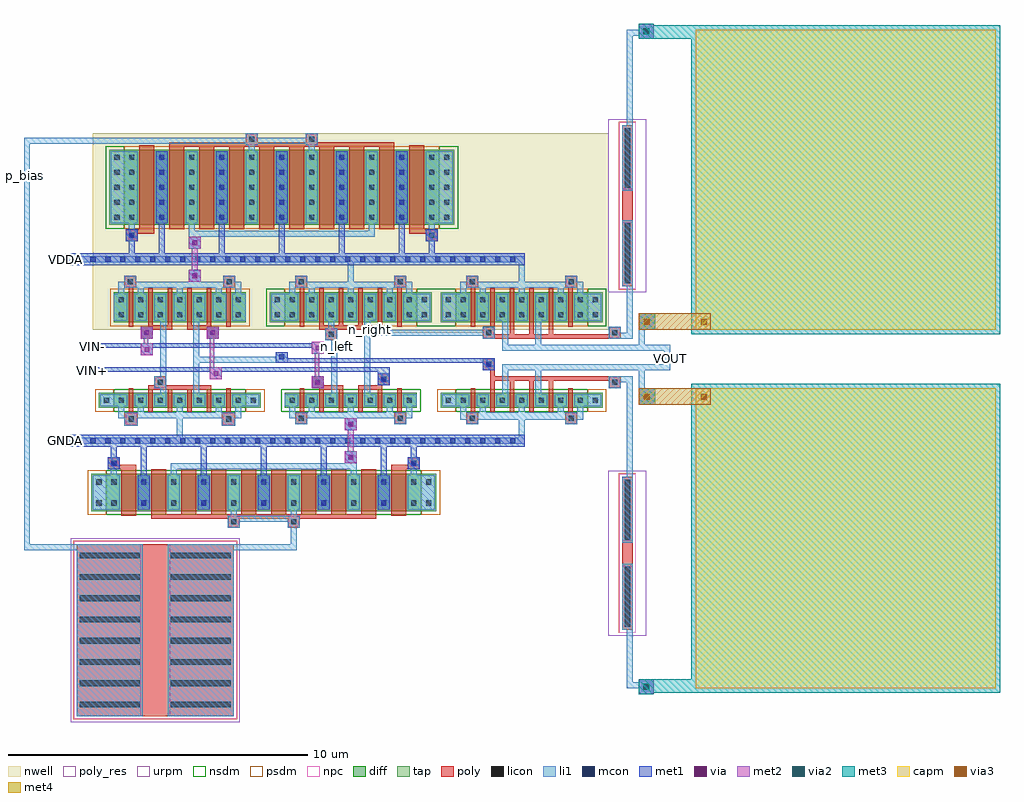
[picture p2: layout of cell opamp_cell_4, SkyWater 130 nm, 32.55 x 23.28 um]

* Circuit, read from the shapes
.subckt opamp_cell_4 GNDA VDDA VIN+ VIN- VOUT n_left n_right p_bias
XM1 GNDA GNDA GNDA GNDA sky130_fd_pr__nfet_01v8 w=1.25 l=0.5 m=2
XM2 GNDA GNDA GNDA GNDA sky130_fd_pr__nfet_01v8 w=0.5 l=0.15 m=4
XM3 n1 n1 GNDA GNDA sky130_fd_pr__nfet_01v8 w=0.5 l=0.15 m=2
XM4 n2 n3 GNDA GNDA sky130_fd_pr__nfet_01v8 w=1.25 l=0.5 m=4
XM5 n4 n1 GNDA GNDA sky130_fd_pr__nfet_01v8 w=0.5 l=0.15 m=2
XM6 n3 n3 GNDA GNDA sky130_fd_pr__nfet_01v8 w=1.25 l=0.5 m=4
XM7 n2 n2 n2 GNDA sky130_fd_pr__nfet_01v8 w=0.5 l=0.15 m=2
XM8 n_left VIN- n2 GNDA sky130_fd_pr__nfet_01v8 w=0.5 l=0.15 m=2
XM9 n_right VIN+ n2 GNDA sky130_fd_pr__nfet_01v8 w=0.5 l=0.15 m=2
XM10 VOUT n4 GNDA GNDA sky130_fd_pr__nfet_01v8 w=0.5 l=0.15 m=4
XM11 n5 n5 n5 VDDA sky130_fd_pr__pfet_01v8 w=1 l=0.15 m=2
XM12 VDDA VDDA VDDA VDDA sky130_fd_pr__pfet_01v8 w=2.5 l=0.5 m=2
XM13 n1 VIN- n5 VDDA sky130_fd_pr__pfet_01v8 w=1 l=0.15 m=2
XM14 n5 p_bias VDDA VDDA sky130_fd_pr__pfet_01v8 w=2.5 l=0.5 m=4
XM15 n4 VIN+ n5 VDDA sky130_fd_pr__pfet_01v8 w=1 l=0.15 m=2
XM16 p_bias p_bias VDDA VDDA sky130_fd_pr__pfet_01v8 w=2.5 l=0.5 m=4
XM17 VDDA VDDA VDDA VDDA sky130_fd_pr__pfet_01v8 w=1 l=0.15 m=4
XM18 n_left n_left VDDA VDDA sky130_fd_pr__pfet_01v8 w=1 l=0.15 m=2
XM19 n_right n_left VDDA VDDA sky130_fd_pr__pfet_01v8 w=1 l=0.15 m=2
XM20 VOUT n_right VDDA VDDA sky130_fd_pr__pfet_01v8 w=1 l=0.15 m=4
XC21 VOUT n6 sky130_fd_pr__cap_mim_m3_1 w=10 l=10
XC22 VOUT n7 sky130_fd_pr__cap_mim_m3_1 w=10 l=10
XR23 n3 p_bias GNDA sky130_fd_pr__res_xhigh_po w=5.73 l=0.88
XR24 n4 n6 GNDA sky130_fd_pr__res_xhigh_po w=0.35 l=0.74
XR25 n7 n_right GNDA sky130_fd_pr__res_xhigh_po w=0.35 l=1.02
.ends

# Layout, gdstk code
import gdstk
lib = gdstk.Library(unit=1e-6, precision=1e-09)
def R(c, l, rs):  # rectangles x0, y0, x1, y1
    for r in rs: c.add(gdstk.rectangle(r[:2], r[2:], *l))
def A(c, l, x, y, w, h, nx, ny, dx, dy):  # array of equal rectangles
    R(c, l, [(x+i*dx, y+j*dy, x+i*dx+w, y+j*dy+h) for i in range(nx) for j in range(ny)])
nwell = (64, 20)
diff = (65, 20)
tap = (65, 44)
poly_res = (66, 13)
poly = (66, 20)
licon = (66, 44)
li1 = (67, 20)
mcon = (67, 44)
met1 = (68, 20)
via = (68, 44)
met2 = (69, 20)
via2 = (69, 44)
met3 = (70, 20)
via3 = (70, 44)
met4 = (71, 20)
urpm = (79, 20)
capm = (89, 44)
nsdm = (93, 44)
psdm = (94, 20)
npc = (95, 20)

opamp_cell_4 = lib.new_cell('opamp_cell_4')
R(opamp_cell_4, nwell, [(42.65,21.75,46.4,21.85), (33.4,21.85,50.6,28.4)])
A(opamp_cell_4, diff, 34.1, 19.25, 4.4, 0.5, 3, 1, 5.7, 0)
A(opamp_cell_4, diff, 34.1, 22.1, 4.4, 1, 3, 1, 5.7, 0)
R(opamp_cell_4, diff, [(33.85,15.8,44.35,17.05), (34.45,25.35,44.95,27.85)])
R(opamp_cell_4, tap, [(33.35,15.8,33.85,17.05), (44.35,15.8,44.85,17.05), (33.6,19.25,34.1,19.75), (38.5,19.25,39,19.75), (45,19.25,45.5,19.75), (49.9,19.25,50.4,19.75), (39.3,22.1,39.8,23.1), (44.2,22.1,44.7,23.1), (45,22.1,45.5,23.1), (49.9,22.1,50.4,23.1), (33.95,25.35,34.45,27.85), (44.95,25.35,45.45,27.85)])
R(opamp_cell_4, poly_res, [(34.98,8.97,35.98,14.7), (51.05,13.97,51.4,14.83), (51.05,25.42,51.4,26.56)])
A(opamp_cell_4, poly, 35.35, 15.7, 0.5, 1.5, 8, 1, 1, 0)
A(opamp_cell_4, poly, 35.25, 19.1, 0.15, 0.75, 4, 1, 0.65, 0)
A(opamp_cell_4, poly, 40.95, 19.1, 0.15, 0.75, 4, 1, 0.65, 0)
A(opamp_cell_4, poly, 46.65, 19.1, 0.15, 1.05, 4, 1, 0.65, 0)
A(opamp_cell_4, poly, 47.3, 21.7, 0.15, 1.55, 3, 1, 0.65, 0)
A(opamp_cell_4, poly, 35.25, 22, 0.15, 1.25, 4, 1, 0.65, 0)
A(opamp_cell_4, poly, 40.95, 22, 0.15, 1.25, 4, 1, 0.65, 0)
A(opamp_cell_4, poly, 35.95, 25.2, 0.5, 2.75, 8, 1, 1, 0)
R(opamp_cell_4, poly, [(32.86,8.97,38.1,14.7), (51.05,11.85,51.4,16.95), (37.9,15.25,38.3,15.55), (39.9,15.25,40.3,15.55), (35.35,15.55,42.85,15.7), (34.35,15.65,34.85,17.2), (43.35,15.65,43.85,17.2), (33.9,17.2,34.85,17.35), (43.35,17.2,44.3,17.35), (33.9,17.35,34.3,17.6), (43.9,17.35,44.3,17.6), (34.45,18.65,34.9,19.1), (37.7,18.65,38.15,19.1), (40.15,18.7,40.55,19.1), (43.45,18.7,43.85,19.1), (45.85,18.7,46.25,19.1), (49.15,18.7,49.55,19.1), (34.6,19.1,34.75,19.9), (37.85,19.1,38,19.9), (40.3,19.1,40.45,19.9), (43.55,19.1,43.7,19.9), (46,19.1,46.15,19.9), (49.25,19.1,49.4,19.9), (35.25,19.85,37.35,20), (40.95,19.85,41.75,19.9), (42.25,19.85,43.05,20), (40.7,19.9,41.75,20), (50.6,19.9,51,20.15), (35.45,20,35.85,20.3), (40.7,20,41.1,20.3), (42.9,20,43.3,20.4), (46.65,20.15,51,20.3), (46.65,20.3,46.8,20.5), (46.4,20.5,46.8,20.9), (41.15,21.5,41.55,21.85), (35,21.55,35.4,21.85), (37.2,21.55,37.6,21.85), (46.4,21.55,51,21.7), (46.4,21.7,46.8,21.95), (50.6,21.7,51,21.95), (42.65,21.75,43.05,21.85), (35,21.85,36.05,21.95), (36.55,21.85,37.6,21.95), (40.95,21.85,43.05,22), (34.6,21.95,34.75,23.25), (35.25,21.95,36.05,22), (36.55,21.95,37.35,22), (37.85,21.95,38,23.25), (40.3,21.95,40.45,23.25), (43.55,21.95,43.7,23.25), (46,21.95,46.15,23.25), (46.65,21.95,46.8,23.25), (49.25,21.95,49.4,23.25), (34.45,23.25,34.85,23.65), (37.75,23.25,38.15,23.65), (40.15,23.25,40.55,23.65), (43.45,23.25,43.85,23.65), (45.85,23.25,46.25,23.65), (49.15,23.25,49.55,23.65), (51.05,23.3,51.4,28.68), (34.5,24.8,34.9,25.05), (44.5,24.8,44.9,25.05), (34.5,25.05,35.45,25.2), (43.95,25.05,44.9,25.2), (34.95,25.2,35.45,28), (43.95,25.2,44.45,28), (35.95,27.95,43.45,28.1), (38.5,28.1,38.9,28.4), (40.5,28.1,40.9,28.4)])
A(opamp_cell_4, licon, 32.96, 9.255, 2, 0.19, 1, 8, 0, 0.71)
A(opamp_cell_4, licon, 36, 9.255, 2, 0.19, 1, 8, 0, 0.71)
A(opamp_cell_4, licon, 34.015, 15.99, 0.17, 0.17, 11, 2, 1, 0.7)
A(opamp_cell_4, licon, 34.265, 19.415, 0.17, 0.17, 7, 2, 0.65, 2.85)
A(opamp_cell_4, licon, 39.965, 19.415, 0.17, 0.17, 7, 2, 0.65, 2.85)
A(opamp_cell_4, licon, 45.665, 19.415, 0.17, 0.17, 7, 2, 0.65, 2.85)
A(opamp_cell_4, licon, 34.265, 22.765, 0.17, 0.17, 7, 1, 0.65, 0)
A(opamp_cell_4, licon, 39.965, 22.765, 0.17, 0.17, 7, 1, 0.65, 0)
A(opamp_cell_4, licon, 45.665, 22.765, 0.17, 0.17, 7, 1, 0.65, 0)
A(opamp_cell_4, licon, 34.115, 25.515, 0.17, 0.17, 1, 5, 0, 0.5)
A(opamp_cell_4, licon, 34.615, 25.515, 0.17, 0.17, 11, 5, 1, 0.5)
A(opamp_cell_4, licon, 45.115, 25.515, 0.17, 0.17, 1, 5, 0, 0.5)
R(opamp_cell_4, licon, [(51.13,11.95,51.32,13.95), (51.13,14.85,51.32,16.85), (38.015,15.365,38.185,15.535), (40.015,15.365,40.185,15.535), (33.515,15.99,33.685,16.16), (44.515,15.99,44.685,16.16), (33.515,16.69,33.685,16.86), (44.515,16.69,44.685,16.86), (34.015,17.315,34.185,17.485), (44.015,17.315,44.185,17.485), (34.59,18.79,34.76,18.96), (37.84,18.79,38.01,18.96), (40.265,18.815,40.435,18.985), (43.565,18.815,43.735,18.985), (45.965,18.815,46.135,18.985), (49.265,18.815,49.435,18.985), (33.765,19.415,33.935,19.585), (38.665,19.415,38.835,19.585), (45.165,19.415,45.335,19.585), (50.065,19.415,50.235,19.585), (35.565,20.015,35.735,20.185), (40.815,20.015,40.985,20.185), (50.715,20.015,50.885,20.185), (43.015,20.115,43.185,20.285), (46.515,20.615,46.685,20.785), (41.265,21.615,41.435,21.785), (35.115,21.665,35.285,21.835), (37.315,21.665,37.485,21.835), (46.515,21.665,46.685,21.835), (50.715,21.665,50.885,21.835), (39.465,22.265,39.635,22.435), (44.365,22.265,44.535,22.435), (45.165,22.265,45.335,22.435), (50.065,22.265,50.235,22.435), (39.465,22.765,39.635,22.935), (44.365,22.765,44.535,22.935), (45.165,22.765,45.335,22.935), (50.065,22.765,50.235,22.935), (34.565,23.365,34.735,23.535), (37.865,23.365,38.035,23.535), (40.265,23.365,40.435,23.535), (43.565,23.365,43.735,23.535), (45.965,23.365,46.135,23.535), (49.265,23.365,49.435,23.535), (51.13,23.4,51.32,25.4), (34.615,24.915,34.785,25.085), (44.615,24.915,44.785,25.085), (51.13,26.58,51.32,28.58), (38.615,28.115,38.785,28.285), (40.615,28.115,40.785,28.285)])
A(opamp_cell_4, li1, 34.9, 15.85, 0.4, 1.15, 9, 1, 1, 0)
A(opamp_cell_4, li1, 34.9, 19.1, 0.2, 0.2, 3, 2, 1.3, 3.95)
A(opamp_cell_4, li1, 40.6, 19.1, 0.2, 0.2, 3, 2, 1.3, 3.95)
A(opamp_cell_4, li1, 46.3, 19.1, 0.2, 0.2, 3, 2, 1.3, 3.95)
A(opamp_cell_4, li1, 34.8, 19.3, 0.4, 0.4, 5, 1, 0.65, 0)
A(opamp_cell_4, li1, 40.5, 19.3, 0.4, 0.4, 5, 1, 0.65, 0)
A(opamp_cell_4, li1, 46.2, 19.3, 0.4, 0.4, 5, 1, 0.65, 0)
A(opamp_cell_4, li1, 34.8, 22.15, 0.4, 0.9, 4, 1, 0.65, 0)
A(opamp_cell_4, li1, 40.5, 22.15, 0.4, 0.9, 5, 1, 0.65, 0)
A(opamp_cell_4, li1, 46.2, 22.15, 0.4, 0.9, 5, 1, 0.65, 0)
A(opamp_cell_4, li1, 34.25, 23.25, 4.1, 0.2, 3, 1, 5.7, 0)
A(opamp_cell_4, li1, 35.5, 25.4, 0.4, 2.4, 9, 1, 1, 0)
R(opamp_cell_4, li1, [(32.86,8.97,35.06,14.5), (35.9,8.97,38.1,14.5), (51.6,9.7,52.1,9.9), (51.2,9.9,52.1,10.1), (51.2,10.1,51.4,11.85), (51.6,10.1,52.1,10.2), (51.05,11.85,51.4,14.05), (31.1,14.5,35.06,14.7), (35.9,14.5,40.2,14.7), (31.1,14.7,31.3,28.05), (40,14.7,40.2,15.25), (51.05,14.75,51.4,16.95), (37.9,15.25,38.3,15.45), (39.9,15.25,40.3,15.45), (37.9,15.45,40.3,15.65), (38,15.65,38.2,15.85), (40,15.65,40.2,15.85), (33.4,15.85,34.3,17), (43.9,15.85,44.8,17), (51.2,16.95,51.4,20.1), (34,17,34.2,17.2), (36,17,36.2,17.2), (42,17,42.2,17.2), (44,17,44.2,17.2), (33.9,17.2,34.3,17.6), (36,17.2,42.2,17.4), (43.9,17.2,44.3,17.6), (41.8,17.4,42.2,17.8), (32.5,18.05,47.8,18.25), (36.2,18.25,36.4,18.9), (47.6,18.25,47.8,18.85), (41.8,18.5,42.2,18.9), (34.45,18.65,34.9,18.9), (37.7,18.65,38.15,18.9), (40.15,18.7,40.55,18.9), (43.45,18.7,43.85,18.9), (45.85,18.7,46.25,18.85), (49.15,18.7,49.55,18.85), (45.65,18.85,49.75,19.1), (34.25,18.9,38.35,19.1), (39.95,18.9,44.05,19.1), (34.25,19.1,34.45,19.3), (38.15,19.1,38.35,19.3), (39.95,19.1,40.15,19.3), (43.85,19.1,44.05,19.3), (45.65,19.1,45.85,19.3), (49.55,19.1,49.75,19.3), (33.65,19.3,34.55,19.7), (38.05,19.3,38.95,19.7), (39.8,19.3,40.25,19.7), (43.75,19.3,44.2,19.7), (45.05,19.3,45.95,19.7), (49.45,19.3,50.35,19.7), (51.6,19.35,52.15,19.9), (35.65,19.7,35.85,19.9), (36.75,19.7,36.95,20.75), (41.35,19.7,41.55,21.5), (42.45,19.7,42.65,21.65), (47.05,19.7,47.25,20.5), (48.15,19.7,48.35,20.5), (35.45,19.9,35.85,20.3), (40.7,19.9,41.1,20.3), (50.6,19.9,51,20.1), (51.6,19.9,51.8,20.5), (42.9,20,43.3,20.4), (50.6,20.1,51.4,20.3), (35.65,20.3,35.85,22.15), (46.4,20.5,46.8,20.9), (47.05,20.5,52.65,20.7), (52.45,20.7,52.65,21.15), (36.75,20.75,39.9,20.95), (36.75,20.95,36.95,22.15), (39.5,20.95,39.9,21.1), (47.05,21.15,52.65,21.35), (47.05,21.35,47.25,22.15), (48.15,21.35,48.35,22.15), (51.6,21.35,51.8,21.85), (41.15,21.5,41.55,21.9), (35,21.55,35.4,21.95), (37.2,21.55,37.6,21.95), (46.4,21.55,46.8,21.65), (50.6,21.55,51.4,21.75), (42.45,21.65,46.8,21.85), (50.6,21.75,51,21.95), (51.2,21.75,51.4,23.3), (42.45,21.85,42.65,22.15), (46.4,21.85,46.8,21.95), (51.6,21.85,52.15,22.4), (41.25,21.9,41.45,22.15), (34.1,22.15,34.55,23.05), (37.4,22.15,37.85,23.05), (38.05,22.15,38.5,23.05), (39.35,22.15,40.25,23.05), (43.75,22.15,44.65,23.05), (45.05,22.15,45.95,23.05), (49.45,22.15,50.35,23.05), (34.25,23.05,34.45,23.25), (38.15,23.05,38.35,23.25), (39.95,23.05,40.15,23.25), (43.85,23.05,44.05,23.25), (45.65,23.05,45.85,23.25), (49.55,23.05,49.75,23.25), (51.05,23.3,51.4,25.5), (34.45,23.45,34.85,23.65), (36.6,23.45,37,23.85), (37.75,23.45,38.15,23.65), (40.15,23.45,40.55,23.65), (41.9,23.45,42.1,24.1), (43.45,23.45,43.85,23.65), (45.85,23.45,46.25,23.65), (47.6,23.45,47.8,24.1), (49.15,23.45,49.55,23.65), (32.5,24.1,47.8,24.3), (36.6,24.55,37,24.95), (34.5,24.8,34.9,25.2), (44.5,24.8,44.9,25.2), (36.6,24.95,42.8,25.15), (36.6,25.15,36.8,25.4), (42.6,25.15,42.8,25.4), (34.6,25.2,34.8,25.4), (44.6,25.2,44.8,25.4), (34,25.4,34.9,27.8), (44.5,25.4,45.4,27.8), (51.05,26.48,51.4,28.68), (38.6,27.8,38.8,28), (40.6,27.8,40.8,28), (38.5,28,38.9,28.05), (40.5,28,40.9,28.05), (31.1,28.05,40.9,28.25), (38.5,28.25,38.9,28.4), (40.5,28.25,40.9,28.4), (51.2,28.68,51.4,31.65), (51.6,31.55,52.1,31.65), (51.2,31.65,52.1,31.85), (51.6,31.85,52.1,32.05)])
A(opamp_cell_4, mcon, 35.015, 15.99, 0.17, 0.17, 5, 2, 2, 0.7)
A(opamp_cell_4, mcon, 32.815, 18.065, 0.17, 0.17, 30, 2, 0.5, 6.05)
A(opamp_cell_4, mcon, 35.615, 25.515, 0.17, 0.17, 5, 5, 2, 0.5)
R(opamp_cell_4, mcon, [(51.765,9.865,51.935,10.035), (34.015,17.315,34.185,17.485), (44.015,17.315,44.185,17.485), (41.915,17.515,42.085,17.685), (41.915,18.615,42.085,18.785), (51.79,19.54,51.96,19.71), (40.815,20.015,40.985,20.185), (43.015,20.115,43.185,20.285), (46.515,20.615,46.685,20.785), (39.615,20.865,39.785,21.035), (35.115,21.665,35.285,21.835), (37.315,21.665,37.485,21.835), (51.79,22.04,51.96,22.21), (36.715,23.565,36.885,23.735), (36.715,24.665,36.885,24.835), (34.615,24.915,34.785,25.085), (51.765,31.715,51.935,31.885)])
A(opamp_cell_4, met1, 34.9, 15.85, 0.4, 1.15, 5, 1, 2, 0)
A(opamp_cell_4, met1, 35, 17, 0.2, 0.95, 5, 1, 2, 0)
A(opamp_cell_4, met1, 35.6, 24.4, 0.2, 1, 5, 1, 2, 0)
A(opamp_cell_4, met1, 35.5, 25.4, 0.4, 2.4, 5, 1, 2, 0)
R(opamp_cell_4, met1, [(51.6,9.7,52.1,10.2), (33.9,17.2,34.3,17.6), (43.9,17.2,44.3,17.6), (41.8,17.4,42.2,17.8), (34,17.6,34.2,17.95), (44,17.6,44.2,17.95), (32.5,17.95,47.8,18.35), (41.8,18.5,42.2,18.9), (51.6,19.35,52.15,19.9), (40.7,19.9,41.1,20.3), (42.9,20,43.3,20.45), (37.3,20.2,37.7,20.45), (33.4,20.45,43.3,20.6), (46.4,20.5,46.8,20.75), (39.5,20.75,46.8,20.9), (39.5,20.9,39.9,21.1), (35,21,35.4,21.25), (40.7,21.05,41.1,21.25), (33.4,21.25,41.1,21.4), (40.7,21.4,41.1,21.45), (35,21.55,35.4,21.95), (37.2,21.55,37.6,21.95), (51.6,21.85,52.15,22.4), (36.6,23.45,37,23.85), (32.5,24,47.8,24.4), (34.6,24.4,34.8,24.8), (44.6,24.4,44.8,24.8), (36.6,24.55,37,24.95), (34.5,24.8,34.9,25.2), (44.5,24.8,44.9,25.2), (51.6,31.55,52.1,32.05)])
R(opamp_cell_4, via, [(51.775,9.875,51.925,10.025), (41.925,17.525,42.075,17.675), (41.925,18.625,42.075,18.775), (51.8,19.55,51.95,19.7), (40.825,20.025,40.975,20.175), (37.425,20.325,37.575,20.475), (35.125,21.125,35.275,21.275), (40.825,21.175,40.975,21.325), (35.125,21.675,35.275,21.825), (37.325,21.675,37.475,21.825), (51.8,22.05,51.95,22.2), (36.725,23.575,36.875,23.725), (36.725,24.675,36.875,24.825), (51.775,31.725,51.925,31.875)])
R(opamp_cell_4, met2, [(51.6,9.7,52.1,10.2), (41.8,17.4,42.2,17.8), (41.9,17.8,42.1,18.5), (41.8,18.5,42.2,18.9), (51.6,19.35,52.15,19.9), (40.7,19.9,41.1,20.3), (37.3,20.2,37.7,20.6), (40.8,20.3,40.95,21.05), (37.3,20.6,37.45,21.55), (35,21,35.4,21.4), (40.7,21.05,41.1,21.45), (35.1,21.4,35.25,21.55), (35,21.55,35.4,21.95), (37.2,21.55,37.6,21.95), (51.6,21.85,52.15,22.4), (36.6,23.45,37,23.85), (36.7,23.85,36.9,24.55), (36.6,24.55,37,24.95), (51.6,31.55,52.1,32.05)])
R(opamp_cell_4, via2, [(51.75,9.85,51.95,10.05), (51.775,19.525,51.975,19.725), (51.775,22.025,51.975,22.225), (51.75,31.7,51.95,31.9)])
R(opamp_cell_4, met3, [(51.6,9.7,52.1,9.75), (51.6,9.75,63.65,10.2), (53.35,10.2,63.65,20.05), (51.6,19.35,52.15,19.9), (53.35,21.7,63.65,31.55), (51.6,21.85,52.15,22.4), (51.6,31.55,63.65,32), (51.6,32,52.1,32.05)])
R(opamp_cell_4, via3, [(51.775,19.525,51.975,19.725), (53.675,19.525,53.875,19.725), (51.775,22.025,51.975,22.225), (53.675,22.025,53.875,22.225)])
R(opamp_cell_4, met4, [(51.6,19.35,54,19.9), (51.6,21.85,54,22.4)])
R(opamp_cell_4, urpm, [(32.66,8.77,38.3,14.9), (50.59,11.65,51.86,17.15), (50.59,23.1,51.86,28.88)])
R(opamp_cell_4, capm, [(53.5,9.9,63.5,19.9), (53.5,21.85,63.5,31.85)])
R(opamp_cell_4, nsdm, [(33.85,15.675,44.35,17.175), (34.1,19.125,38.5,19.875), (39.675,19.125,44.325,19.875), (45.5,19.125,49.9,19.875), (39.175,21.975,39.8,23.225), (44.2,21.975,45.5,23.225), (49.9,21.975,50.525,23.225), (33.825,25.225,34.45,27.975), (44.95,25.225,45.575,27.975)])
R(opamp_cell_4, psdm, [(32.75,8.86,38.21,14.81), (50.94,11.74,51.51,17.06), (33.225,15.675,33.85,17.175), (44.35,15.675,44.975,17.175), (33.475,19.125,34.1,19.875), (38.5,19.125,39.125,19.875), (44.875,19.125,45.5,19.875), (49.9,19.125,50.525,19.875), (33.975,21.975,38.625,23.225), (39.8,21.975,44.2,23.225), (45.5,21.975,49.9,23.225), (50.94,23.19,51.51,28.79), (34.45,25.225,44.95,27.975)])
R(opamp_cell_4, npc, [(32.765,8.875,38.195,14.795), (50.955,11.755,51.495,17.045), (37.915,15.265,38.285,15.635), (39.915,15.265,40.285,15.635), (33.915,17.215,34.285,17.585), (43.915,17.215,44.285,17.585), (34.49,18.69,34.86,19.06), (37.74,18.69,38.11,19.06), (40.165,18.715,40.535,19.085), (43.465,18.715,43.835,19.085), (45.865,18.715,46.235,19.085), (49.165,18.715,49.535,19.085), (35.465,19.915,35.835,20.285), (40.715,19.915,41.085,20.285), (50.615,19.915,50.985,20.285), (42.915,20.015,43.285,20.385), (46.415,20.515,46.785,20.885), (41.165,21.515,41.535,21.885), (35.015,21.565,35.385,21.935), (37.215,21.565,37.585,21.935), (46.415,21.565,46.785,21.935), (50.615,21.565,50.985,21.935), (50.955,23.205,51.495,28.775), (34.465,23.265,34.835,23.635), (37.765,23.265,38.135,23.635), (40.165,23.265,40.535,23.635), (43.465,23.265,43.835,23.635), (45.865,23.265,46.235,23.635), (49.165,23.265,49.535,23.635), (34.515,24.815,34.885,25.185), (44.515,24.815,44.885,25.185), (38.515,28.015,38.885,28.385), (40.515,28.015,40.885,28.385)])
opamp_cell_4.add(gdstk.Label('p_bias', (31.1,27), layer=67, texttype=5))
opamp_cell_4.add(gdstk.Label('n_right', (42.65,21.85), layer=67, texttype=5))
opamp_cell_4.add(gdstk.Label('n_left', (41.55,21.3), layer=67, texttype=5))
opamp_cell_4.add(gdstk.Label('VDDA', (32.5,24.2), layer=67, texttype=5))
opamp_cell_4.add(gdstk.Label('VIN+', (33.4,20.5), layer=68, texttype=5))
opamp_cell_4.add(gdstk.Label('VIN-', (33.4,21.3), layer=68, texttype=5))
opamp_cell_4.add(gdstk.Label('VOUT', (52.65,20.9), layer=67, texttype=5))
opamp_cell_4.add(gdstk.Label('GNDA', (32.5,18.15), layer=67, texttype=5))

lib.write_gds('opamp_cell_4.gds')
